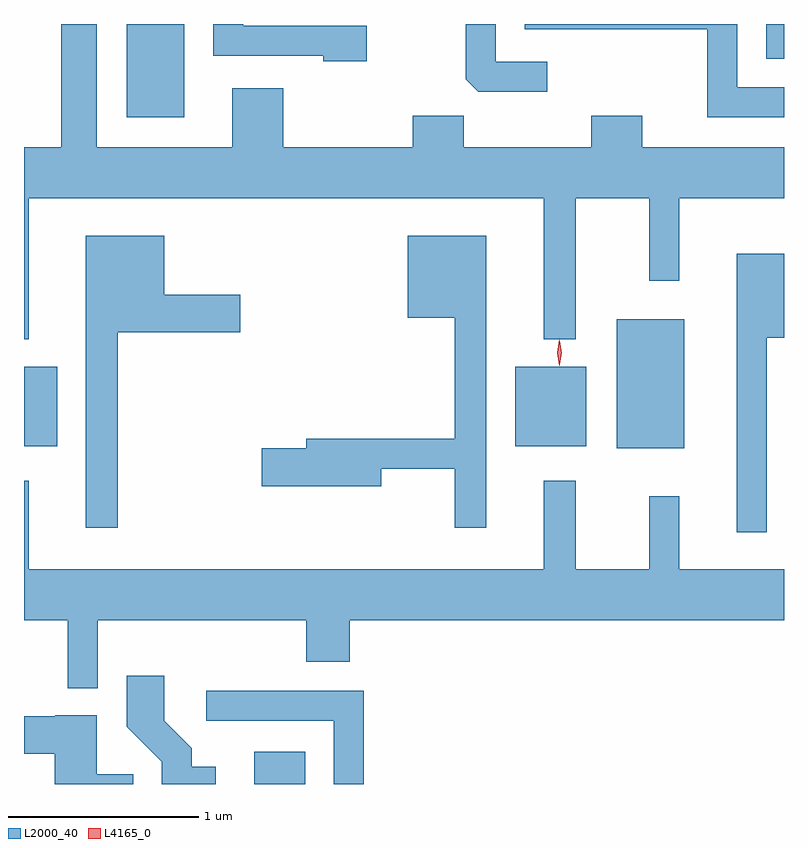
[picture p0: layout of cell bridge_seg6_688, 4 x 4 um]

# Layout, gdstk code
import gdstk
lib = gdstk.Library(unit=1e-6, precision=1e-09)
def R(c, l, rs):  # rectangles x0, y0, x1, y1
    for r in rs: c.add(gdstk.rectangle(r[:2], r[2:], *l))
def P(c, l, *ps):  # polygons
    for p in ps: c.add(gdstk.Polygon(p, *l))
L2000_40 = (2000, 40)
L4165_0 = (4165, 0)

bridge_seg6_688 = lib.new_cell('bridge_seg6_688')
R(bridge_seg6_688, L2000_40, [(238.166,1533.633,238.434,1533.804), (240.076,1535.401,240.429,1536.079), (236.955,1535.411,237.129,1535.829), (239.541,1535.411,239.914,1535.829), (237.496,1537.141,237.799,1537.633), (240.861,1537.451,240.955,1537.633)])
P(bridge_seg6_688, L2000_40, [(240.955,1537.299),(240.709,1537.299),(240.709,1537.633),(239.591,1537.633),(239.591,1537.606),(240.551,1537.606),(240.551,1537.141),(240.955,1537.141)],
  [(239.708,1537.434),(239.439,1537.434),(239.439,1537.633),(239.281,1537.633),(239.281,1537.342),(239.347,1537.276),(239.708,1537.276)],
  [(236.979,1536.716),(239.691,1536.716),(239.691,1535.973),(239.859,1535.973),(239.859,1536.716),(240.246,1536.716),(240.246,1536.283),(240.404,1536.283),(240.404,1536.716),(240.955,1536.716),(240.955,1536.984),(240.209,1536.984),(240.209,1537.149),(239.941,1537.149),(239.941,1536.984),(239.269,1536.984),(239.269,1537.149),(239.001,1537.149),(239.001,1536.984),(238.319,1536.984),(238.319,1537.294),(238.051,1537.294),(238.051,1536.984),(237.339,1536.984),(237.339,1537.633),(237.151,1537.633),(237.151,1536.984),(236.955,1536.984),(236.955,1535.973),(236.979,1535.973)],
  [(238.759,1537.624),(238.109,1537.624),(238.109,1537.633),(237.951,1537.633),(237.951,1537.466),(238.531,1537.466),(238.531,1537.436),(238.759,1537.436)],
  [(239.389,1536.519),(238.976,1536.519),(238.976,1536.086),(239.221,1536.086),(239.221,1535.449),(238.441,1535.449),(238.441,1535.399),(238.206,1535.399),(238.206,1535.201),(238.834,1535.201),(238.834,1535.291),(239.221,1535.291),(239.221,1534.983),(239.389,1534.983)],
  [(237.449,1536.011),(238.094,1536.011),(238.094,1536.209),(237.694,1536.209),(237.694,1536.519),(237.281,1536.519),(237.281,1534.983),(237.449,1534.983)],
  [(240.864,1535.981),(240.955,1535.981),(240.955,1536.424),(240.706,1536.424),(240.706,1534.958),(240.864,1534.958)],
  [(237.344,1534.496),(238.441,1534.496),(238.441,1534.276),(238.669,1534.276),(238.669,1534.496),(240.955,1534.496),(240.955,1534.764),(240.404,1534.764),(240.404,1535.148),(240.246,1535.148),(240.246,1534.764),(239.859,1534.764),(239.859,1535.228),(239.691,1535.228),(239.691,1534.764),(236.979,1534.764),(236.979,1535.228),(236.955,1535.228),(236.955,1534.496),(237.186,1534.496),(237.186,1534.138),(237.344,1534.138)],
  [(237.964,1533.724),(237.839,1533.724),(237.839,1533.822),(237.694,1533.967),(237.694,1534.204),(237.496,1534.204),(237.496,1533.934),(237.681,1533.749),(237.681,1533.633),(237.964,1533.633)],
  [(238.744,1534.124),(237.913,1534.124),(237.913,1533.966),(238.586,1533.966),(238.586,1533.633),(238.744,1533.633)],
  [(237.529,1533.684),(237.339,1533.684),(237.339,1533.994),(237.12,1533.994),(237.12,1533.989),(236.955,1533.989),(236.955,1533.791),(237.116,1533.791),(237.116,1533.633),(237.529,1533.633)])
P(bridge_seg6_688, L4165_0, [(239.775,1535.838),(239.775,1535.839),(239.765,1535.903),(239.775,1535.967),(239.775,1535.967),(239.776,1535.967),(239.785,1535.903),(239.776,1535.839)],
  [(239.771,1535.834),(239.771,1535.834),(239.762,1535.902),(239.772,1535.97),(239.773,1535.97),(239.773,1535.97),(239.782,1535.902),(239.772,1535.834)])

lib.write_gds('bridge_seg6_688.gds')
